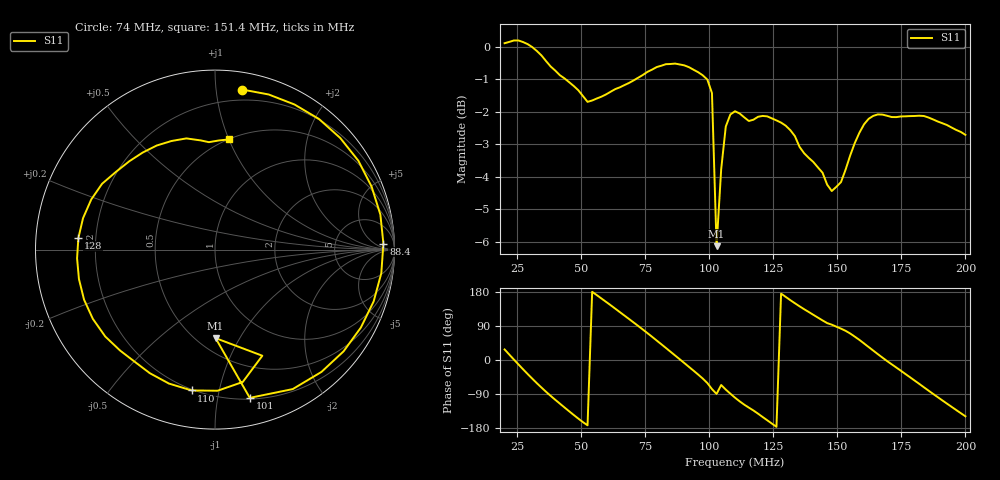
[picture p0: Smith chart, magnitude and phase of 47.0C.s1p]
# HZ S RI R 50
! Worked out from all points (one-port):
!   101 points, 20 MHz to 200 MHz, reference 50 ohm
!   lowest |S11| = -6.1 dB at 102.8 MHz (marker M1), VSWR 2.95, Z = 30.6 - j39.9 ohm
!   |S11| at or under -10 dB: nowhere
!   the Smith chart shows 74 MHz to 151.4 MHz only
!   S11 on the Smith chart (normalised r, x): 74 MHz: 0.12, +1.18; 88.4 MHz: 24, +14; 101 MHz: 0.21, -1.24; 110 MHz: 0.19, -0.83; 128 MHz: 0.13, +0.04; 151.4 MHz: 0.50, +1.00
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2e7  0.8951 0.4725
2.54e7  1.001 -0.206
3.26e7  0.4744 -0.8629
3.8e7  -0.0762 -0.9289
4.34e7  -0.5162 -0.7294
4.88e7  -0.7743 -0.3668
5.42e7  -0.8263 0.00111
6.5e7  -0.5141 0.6965
7.4e7  0.1505 0.8919
8.12e7  0.6979 0.6216
8.84e7  0.9383 0.0332
9.56e7  0.7162 -0.567
1.01e8  0.1939 -0.826
1.028e8  0.00328 -0.4932
1.046e8  0.2638 -0.5913
1.1e8  -0.13 -0.7847
1.208e8  -0.6806 -0.3858
1.28e8  -0.7613 0.0643
1.334e8  -0.6292 0.3668
1.424e8  -0.2425 0.6051
1.514e8  0.0779 0.6139
1.55e8  0.2334 0.6388
1.604e8  0.5495 0.5241
1.658e8  0.758 0.2099
1.712e8  0.7641 -0.1529
1.784e8  0.5464 -0.5593
1.892e8  -0.1072 -0.7595
2e8  -0.624 -0.3822
